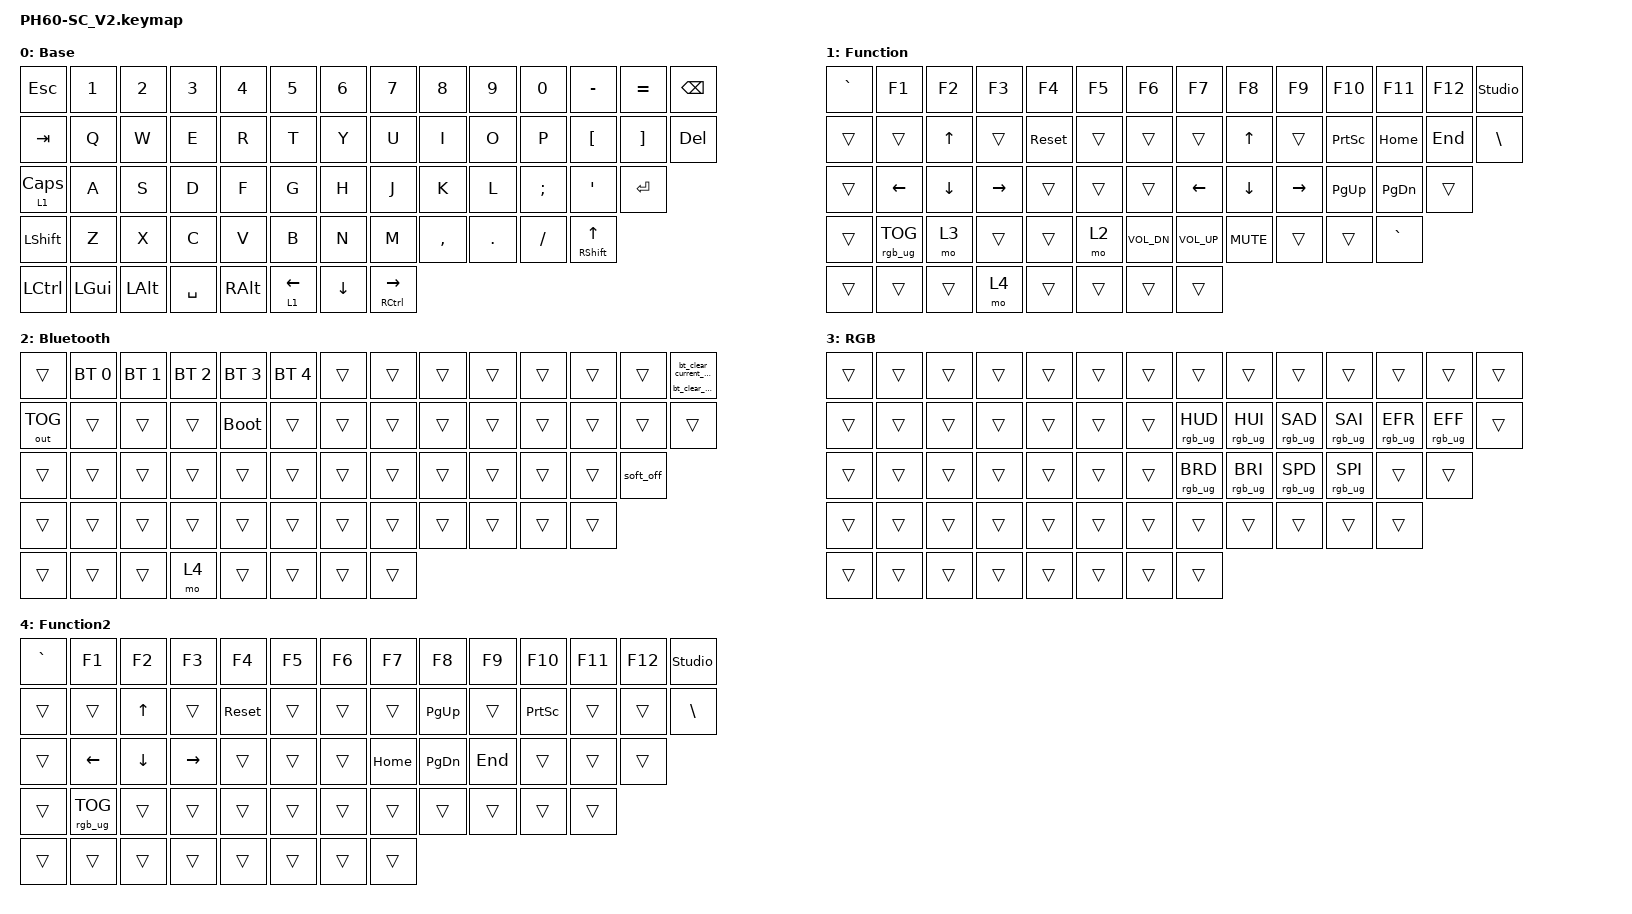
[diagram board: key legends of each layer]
/*
 * Copyright (c) 2025 Team PHDesign
 *
 * SPDX-License-Identifier: MIT
 #include <dt-bindings/zmk/pointing.h>
 */

#include <dt-bindings/zmk/hid_indicators.h>
#include <behaviors.dtsi>
#include <dt-bindings/zmk/bt.h>
#include <dt-bindings/zmk/keys.h>
#include <dt-bindings/zmk/outputs.h>
#include <dt-bindings/zmk/rgb.h>
#include <dt-bindings/zmk/pointing.h>

#define LAYER_Base 0
#define LAYER_Function 1
#define LAYER_Bluetooth 2
#define LAYER_RGB 3
#define LAYER_Function2 4

#include "PH60-SC_V2-rgb.dtsi"

/ {
    behaviors {
        // Macro to clear current BT profile (tap)

        bt_clear_current_macro: bt_clear_current_macro {
            compatible = "zmk,behavior-macro";
            #binding-cells = <0>;
            bindings = <&bt BT_CLR>;
        };

        // Macro to clear all BT profiles (hold)

        bt_clear_all_macro: bt_clear_all_macro {
            compatible = "zmk,behavior-macro";
            #binding-cells = <0>;
            bindings = <&bt BT_CLR_ALL>;
        };

        // Hold to clear all BT profiles, Tap to clear current

        bt_clear_holdtap: bt_clear_holdtap {
            compatible = "zmk,behavior-hold-tap";
            #binding-cells = <2>;
            flavor = "tap-preferred";
            tapping-term-ms = <3000>;
            bindings = <&bt_clear_all_macro>, <&bt_clear_current_macro>;
        };

        // ===== 你的 behaviors =====
        mt: mod_tap {
            compatible = "zmk,behavior-hold-tap";
            #binding-cells = <2>;
            flavor = "hold-preferred";
            tapping-term-ms = <140>;
            quick-tap-ms = <200>;
            bindings = <&kp>, <&kp>;

            display-name = "Mod-Tap";
        };

        lt: layer_tap {
            compatible = "zmk,behavior-hold-tap";
            #binding-cells = <2>;
            flavor = "tap-preferred";
            tapping-term-ms = <140>;
            quick-tap-ms = <200>;
            bindings = <&mo>, <&kp>;

            display-name = "Layer-Tap";
        };

        td_caps: td_caps {
            compatible = "zmk,behavior-tap-dance";
            label = "TD_CAPS";
            #binding-cells = <0>;
            tapping-term-ms = <200>;
            bindings = <&lt 1 CAPS>, <&mo 4>;
        };

        // ===== 上游 behaviors (预置槽位, 可在 Studio 调整) =====
        // Default mod-tap — hold-preferred, 200ms
        ht_def: ht_def {
            compatible = "zmk,behavior-hold-tap";
            #binding-cells = <2>;
            flavor = "hold-preferred";
            tapping-term-ms = <200>;
            bindings = <&kp>, <&kp>;
        };

        // Fast mod-tap — balanced, 150ms, quick-tap 100ms
        ht_fast: ht_fast {
            compatible = "zmk,behavior-hold-tap";
            #binding-cells = <2>;
            flavor = "balanced";
            tapping-term-ms = <150>;
            quick-tap-ms = <100>;
            bindings = <&kp>, <&kp>;
        };

        // Slow layer-tap — tap-preferred, 280ms, retro-tap on
        ht_slow: ht_slow {
            compatible = "zmk,behavior-hold-tap";
            #binding-cells = <2>;
            flavor = "tap-preferred";
            tapping-term-ms = <280>;
            retro-tap;
            bindings = <&mo>, <&kp>;
        };

        // User slots — default to hold-preferred 200ms, tweak in Studio
        ht_user1: ht_user1 {
            compatible = "zmk,behavior-hold-tap";
            #binding-cells = <2>;
            flavor = "hold-preferred";
            tapping-term-ms = <200>;
            bindings = <&kp>, <&kp>;
        };

        ht_user2: ht_user2 {
            compatible = "zmk,behavior-hold-tap";
            #binding-cells = <2>;
            flavor = "hold-preferred";
            tapping-term-ms = <200>;
            bindings = <&kp>, <&kp>;
        };

        ht_user3: ht_user3 {
            compatible = "zmk,behavior-hold-tap";
            #binding-cells = <2>;
            flavor = "hold-preferred";
            tapping-term-ms = <200>;
            bindings = <&kp>, <&kp>;
        };

        ht_user4: ht_user4 {
            compatible = "zmk,behavior-hold-tap";
            #binding-cells = <2>;
            flavor = "hold-preferred";
            tapping-term-ms = <200>;
            bindings = <&kp>, <&kp>;
        };
    };

    macros {
    };

    combos {
        compatible = "zmk,combos";

        combo_reserved_0 {
            reserved;
            key-positions = <0 1>;
            bindings = <&none>;
        };

        combo_reserved_1 {
            reserved;
            key-positions = <0 1>;
            bindings = <&none>;
        };

        combo_reserved_2 {
            reserved;
            key-positions = <0 1>;
            bindings = <&none>;
        };

        combo_reserved_3 {
            reserved;
            key-positions = <0 1>;
            bindings = <&none>;
        };

        combo_reserved_4 {
            reserved;
            key-positions = <0 1>;
            bindings = <&none>;
        };
    };

    keymap {
        compatible = "zmk,keymap";

        default_layer {
            display-name = "Base";
            bindings = <
&kp ESC    &kp N1    &kp N2    &kp N3     &kp N4    &kp N5      &kp N6         &kp N7           &kp N8     &kp N9   &kp N0     &kp MINUS     &kp EQUAL  &kp BSPC
&kp TAB    &kp Q     &kp W     &kp E      &kp R     &kp T       &kp Y          &kp U            &kp I      &kp O    &kp P      &kp LBKT      &kp RBKT   &kp DEL
&lt 1 CAPS   &kp A     &kp S     &kp D      &kp F     &kp G       &kp H          &kp J            &kp K      &kp L    &kp SEMI   &kp SQT       &kp RET
&kp LSHFT  &kp Z     &kp X     &kp C      &kp V     &kp B       &kp N          &kp M            &kp COMMA  &kp DOT  &kp SLASH  &mt RSHFT UP
&kp LCTRL  &kp LGUI  &kp LALT  &kp SPACE  &kp RALT  &lt 1 LEFT  &kp DOWN  &mt RCTRL RIGHT
            >;
        };

        function_layer {
            display-name = "Function";
            bindings = <
&kp GRAVE  &kp F1           &kp F2    &kp F3     &kp F4      &kp F5    &kp F6     &kp F7    &kp F8    &kp F9     &kp F10    &kp F11    &kp F12  &studio_unlock
&trans     &trans           &kp UP    &trans     &sys_reset  &trans    &trans     &trans    &kp UP    &trans     &kp PSCRN  &kp HOME   &kp END  &kp BSLH
&trans     &kp LEFT         &kp DOWN  &kp RIGHT  &trans      &trans    &trans     &kp LEFT  &kp DOWN  &kp RIGHT  &kp PG_UP  &kp PG_DN  &trans
&trans     &rgb_ug RGB_TOG  &mo 3     &trans     &trans      &mo 2     &kp C_VOL_DN     &kp C_VOL_UP    &kp C_MUTE    &trans     &trans     &kp GRAVE
&trans     &trans           &trans    &mo 4     &trans      &trans  &trans  &trans
            >;
        };

        bluetooth_layer {
            display-name = "Bluetooth";
            bindings = <
&trans        &bt BT_SEL 0  &bt BT_SEL 1  &bt BT_SEL 2  &bt BT_SEL 3  &bt BT_SEL 4  &trans  &trans  &trans  &trans  &trans  &trans  &trans     &bt_clear_holdtap 0 0
&out OUT_TOG  &trans        &trans        &trans        &bootloader   &trans        &trans  &trans  &trans  &trans  &trans  &trans  &trans     &trans
&trans        &trans        &trans        &trans        &trans        &trans        &trans  &trans  &trans  &trans  &trans  &trans  &soft_off
&trans        &trans        &trans        &trans        &trans        &trans        &trans  &trans  &trans  &trans  &trans  &trans
&trans        &trans        &trans        &mo 4        &trans        &trans        &trans  &trans
            >;
        };

        rgb_layer {
            display-name = "RGB";
            bindings = <
&trans  &trans  &trans  &trans  &trans  &trans  &trans  &trans           &trans           &trans           &trans           &trans           &trans           &trans
&trans  &trans  &trans  &trans  &trans  &trans  &trans  &rgb_ug RGB_HUD  &rgb_ug RGB_HUI  &rgb_ug RGB_SAD  &rgb_ug RGB_SAI  &rgb_ug RGB_EFR  &rgb_ug RGB_EFF  &trans
&trans  &trans  &trans  &trans  &trans  &trans  &trans  &rgb_ug RGB_BRD  &rgb_ug RGB_BRI  &rgb_ug RGB_SPD  &rgb_ug RGB_SPI  &trans           &trans
&trans  &trans  &trans  &trans  &trans  &trans  &trans  &trans           &trans           &trans           &trans           &trans
&trans  &trans  &trans  &trans  &trans  &trans  &trans  &trans
            >;
        };

        function2_layer {
            display-name = "Function2";
            bindings = <
&kp GRAVE  &kp F1           &kp F2    &kp F3     &kp F4      &kp F5  &kp F6  &kp F7    &kp F8     &kp F9   &kp F10    &kp F11  &kp F12  &studio_unlock
&trans     &trans           &kp UP    &trans     &sys_reset  &trans  &trans  &trans    &kp PG_UP  &trans   &kp PSCRN  &trans   &trans   &kp BSLH
&trans     &kp LEFT         &kp DOWN  &kp RIGHT  &trans      &trans  &trans  &kp HOME  &kp PG_DN  &kp END  &trans     &trans   &trans
&trans     &rgb_ug RGB_TOG  &trans    &trans     &trans      &trans  &trans  &trans    &trans     &trans   &trans     &trans
&trans     &trans           &trans    &trans     &trans      &trans  &trans  &trans
            >;
        };
    };
};
